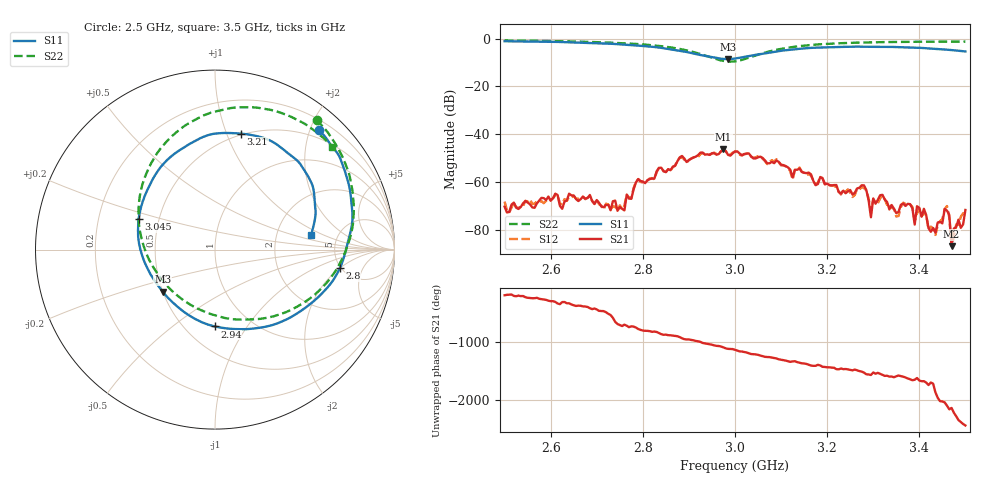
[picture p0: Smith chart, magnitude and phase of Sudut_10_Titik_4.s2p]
# Hz S RI R 50
! CMT, C1220, 16058040, 17.2.0/1
! Date: 15/08/2018 10:30:52
! Data: Format (Calibration Info)
! Freq  S11: Re/Im (F2)  S21: Re/Im (F2)  S12: Re/Im (F2)  S22: Re/Im (F2)
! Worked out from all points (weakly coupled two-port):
!   201 points, 2.5 GHz to 3.5 GHz, reference 50 ohm
!   highest |S21| = -46.17 dB at 2.975 GHz (marker M1); lowest = -86.8 dB at 3.47 GHz (marker M2)
!   lowest |S11| = -8.5 dB at 2.985 GHz (marker M3), VSWR 2.19, Z = 25 - j13.6 ohm
!   |S11| at or under -10 dB: nowhere
!   |S22| runs from -9.6 to -0.8 dB; largest |S21 - S12| = 0.00032
!   S11 on the Smith chart (normalised r, x): 2.5 GHz: 0.35, +2.14; 2.8 GHz: 4.90, -1.99; 2.94 GHz: 0.69, -0.72; 3.045 GHz: 0.38, +0.17; 3.21 GHz: 0.49, +1.13; 3.5 GHz: 3.18, +0.71
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2.5e9  0.5785 0.6674  -0.000307 -1.85e-05  -0.000392 -1.44e-05  0.5658 0.7218
2.67e9  0.7503 0.3411  0.00049 -9.28e-05  0.000474 -0.000138  0.7372 0.451
2.76e9  0.7456 0.0612  0.000221 0.000131  0.000258 0.000194  0.7733 0.2131
2.8e9  0.6957 -0.1026  0.00031 -0.000988  0.000345 -0.000926  0.7542 0.073
2.835e9  0.6101 -0.2292  -0.0009 -0.00178  -0.000886 -0.00174  0.7021 -0.0646
2.94e9  -0.00274 -0.428  0.00225 0.00309  0.00221 0.00323  0.1747 -0.3895
2.975e9  -0.2357 -0.2943  0.00488 -0.000579  0.00468 -0.000625  -0.1023 -0.3269
2.985e9  -0.2911 -0.2349  0.00314 -0.00197  0.00319 -0.00191  -0.1754 -0.2826
3e9  -0.3586 -0.1385  0.0029 -0.00328  0.00271 -0.00343  -0.2725 -0.1957
3.045e9  -0.4254 0.1718  -0.00196 -0.00245  -0.002 -0.00263  -0.4236 0.1398
3.17e9  -0.00712 0.6452  0.000904 0.000555  0.000893 0.000624  -0.077 0.7411
3.21e9  0.1451 0.6458  0.000847 -1.74e-06  0.000859 -8.89e-05  0.0681 0.7847
3.28e9  0.3504 0.5814  3.23e-05 -0.000854  -8.29e-06 -0.000752  0.2761 0.7841
3.295e9  0.3857 0.5542  -0.000114 -0.000145  -0.000112 -0.000216  0.314 0.7777
3.335e9  0.4686 0.4849  -0.000247 -0.000106  -0.00032 -0.000194  0.4041 0.7485
3.38e9  0.5319 0.3835  -0.000318 0.000135  -0.000322 0.000121  0.4895 0.7068
3.39e9  0.5413 0.3625  -0.000111 6.75e-05  -9.08e-05 0.000124  0.5049 0.698
3.41e9  0.5515 0.3144  -0.000153 0.000231  -0.000129 0.000185  0.5368 0.6756
3.42e9  0.5543 0.2855  6.09e-05 9.04e-05  6.36e-05 7.87e-05  0.5517 0.6653
3.46e9  0.5589 0.1841  0.00014 0.000213  0.000132 0.000288  0.6063 0.6202
3.47e9  0.5551 0.1598  4.4e-05 1.3e-05  2.86e-05 3.94e-05  0.6178 0.6087
3.5e9  0.5345 0.0789  8.69e-05 0.000247  0.000101 0.000176  0.6522 0.573
